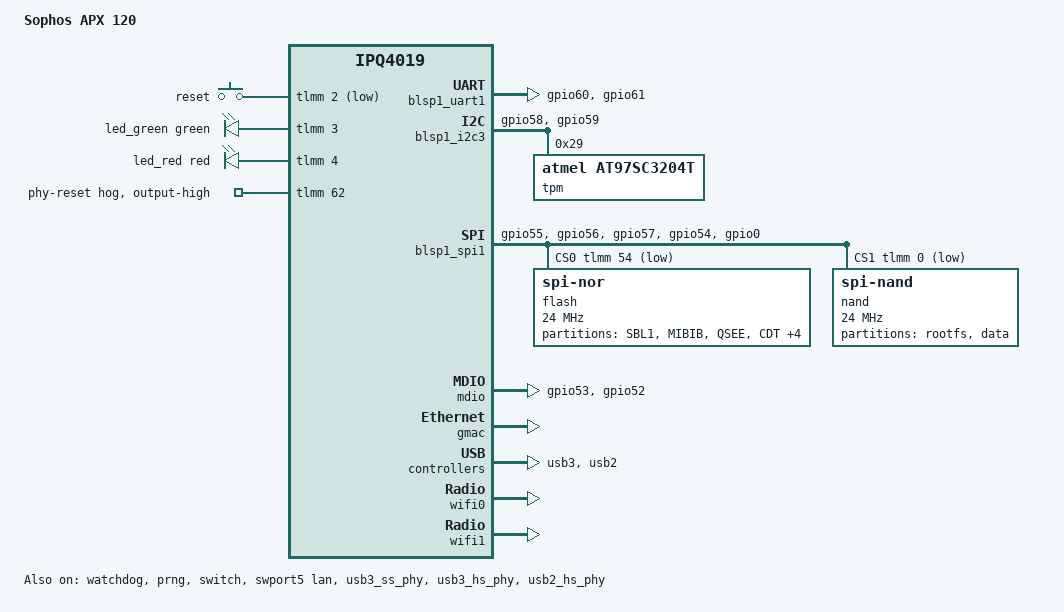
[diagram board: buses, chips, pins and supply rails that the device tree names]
// SPDX-License-Identifier: GPL-2.0-or-later OR MIT

#include "qcom-ipq4019.dtsi"
#include <dt-bindings/gpio/gpio.h>
#include <dt-bindings/input/input.h>
#include <dt-bindings/leds/common.h>
#include <dt-bindings/soc/qcom,tcsr.h>

/ {
	model = "Sophos APX 120";
	compatible = "sophos,apx120", "qcom,ipq4019";

	aliases {
		ethernet0 = &gmac;
		led-boot = &led_green;
		led-failsafe = &led_red;
		led-running = &led_green;
		led-upgrade = &led_red;
		label-mac-device = &gmac;
	};

	chosen {
		bootargs-append = " root=/dev/ubiblock0_1 ubi.mtd=data";
	};

	soc {
		counter@4a1000 {
			compatible = "qcom,qca-gcnt";
			reg = <0x4a1000 0x4>;
		};

		tcsr@1949000 {
			compatible = "qcom,tcsr";
			reg = <0x1949000 0x100>;
			qcom,wifi_glb_cfg = <TCSR_WIFI_GLB_CFG>;
		};

		tcsr@194b000 {
			compatible = "qcom,tcsr";
			reg = <0x194b000 0x100>;
			qcom,usb-hsphy-mode-select = <TCSR_USB_HSPHY_HOST_MODE>;
		};

		ess_tcsr@1953000 {
			compatible = "qcom,tcsr";
			reg = <0x1953000 0x1000>;
			qcom,ess-interface-select = <TCSR_ESS_PSGMII>;
		};

		tcsr@1957000 {
			compatible = "qcom,tcsr";
			reg = <0x1957000 0x100>;
			qcom,wifi_noc_memtype_m0_m2 = <TCSR_WIFI_NOC_MEMTYPE_M0_M2>;
		};
	};

	keys {
		compatible = "gpio-keys";

		reset {
			label = "reset";
			gpios = <&tlmm 2 GPIO_ACTIVE_LOW>;
			linux,code = <KEY_RESTART>;
		};
	};

	leds {
		compatible = "gpio-leds";

		led_green: green {
			function = LED_FUNCTION_POWER;
			color = <LED_COLOR_ID_GREEN>;
			gpios = <&tlmm 3 GPIO_ACTIVE_HIGH>;
			default-state = "on";
		};

		led_red: red {
			function = LED_FUNCTION_STATUS;
			color = <LED_COLOR_ID_RED>;
			gpios = <&tlmm 4 GPIO_ACTIVE_HIGH>;
			panic-indicator;
		};
	};
};

&watchdog {
	status = "okay";
};

&prng {
	status = "okay";
};

&blsp_dma {
	status = "okay";
};

&blsp1_uart1 {
	status = "okay";
	pinctrl-0 = <&serial_0_pins>;
	pinctrl-names = "default";
};

&blsp1_i2c3 {
	status = "okay";
	pinctrl-0 = <&i2c_0_pins>;
	pinctrl-names = "default";

	tpm@29 {
		compatible = "atmel,at97sc3204t";
		reg = <0x29>;
	};
};

&blsp1_spi1 {
	status = "okay";

	pinctrl-0 = <&spi_0_pins>;
	pinctrl-names = "default";
	cs-gpios = <&tlmm 54 GPIO_ACTIVE_LOW>,
		   <&tlmm  0 GPIO_ACTIVE_LOW>;

	flash@0 {
		compatible = "jedec,spi-nor";
		reg = <0>;
		spi-max-frequency = <24000000>;

		partitions {
			compatible = "fixed-partitions";
			#address-cells = <1>;
			#size-cells = <1>;

			partition@0 {
				label = "SBL1";
				reg = <0x00000000 0x00040000>;
				read-only;
			};

			partition@40000 {
				label = "MIBIB";
				reg = <0x00040000 0x00020000>;
				read-only;
			};

			partition@60000 {
				label = "QSEE";
				reg = <0x00060000 0x00060000>;
				read-only;
			};

			partition@c0000 {
				label = "CDT";
				reg = <0x000c0000 0x00010000>;
				read-only;
			};

			partition@d0000 {
				label = "DDRPARAMS";
				reg = <0x000d0000 0x00010000>;
				read-only;
			};

			partition@e0000 {
				label = "APPSBLENV";
				reg = <0x000e0000 0x00010000>;
			};

			partition@f0000 {
				label = "APPSBL";
				reg = <0x000f0000 0x00080000>;
				read-only;
			};

			partition@170000 {
				label = "ART";
				reg = <0x00170000 0x00010000>;
				read-only;

				nvmem-layout {
					compatible = "fixed-layout";
					#address-cells = <1>;
					#size-cells = <1>;

					macaddr_art_0: macaddr@0 {
						reg = <0x0 0x6>;
					};

					precal_art_1000: precal@1000 {
						reg = <0x1000 0x2f20>;
					};

					precal_art_5000: precal@5000 {
						reg = <0x5000 0x2f20>;
					};
				};
			};
		};
	};

	nand@1 {
		compatible = "spi-nand";
		reg = <1>;
		spi-max-frequency = <24000000>;

		partitions {
			compatible = "fixed-partitions";
			#address-cells = <1>;
			#size-cells = <1>;

			/* Dual-die NAND: UBI on die 0, data on die 1 */
			partition@0 {
				label = "rootfs";
				reg = <0x00000000 0x08000000>;
				linux,rootfs;
			};

			partition@8000000 {
				label = "data";
				reg = <0x08000000 0x08000000>;
			};
		};
	};
};

&tlmm {
	serial_0_pins: serial_0_pinmux {
		mux {
			pins = "gpio60", "gpio61";
			function = "blsp_uart0";
			bias-disable;
		};
	};

	i2c_0_pins: i2c_0_pinmux {
		mux {
			pins = "gpio58", "gpio59";
			function = "blsp_i2c0";
			bias-disable;
		};
	};

	mdio_pins: mdio_pinmux {
		mux_mdio {
			pins = "gpio53";
			function = "mdio";
			bias-pull-up;
		};

		mux_mdc {
			pins = "gpio52";
			function = "mdc";
			bias-pull-up;
		};
	};

	spi_0_pins: spi_0_pinmux {
		mux_spi {
			function = "blsp_spi0";
			pins = "gpio55", "gpio56", "gpio57";
			drive-strength = <12>;
			bias-disable;
		};

		mux_cs {
			function = "gpio";
			pins = "gpio54", "gpio0";
			drive-strength = <2>;
			bias-disable;
			output-high;
		};
	};

	phy_reset {
		gpio-hog;
		line-name = "phy-reset";
		gpios = <62 GPIO_ACTIVE_HIGH>;
		output-high;
	};
};

&mdio {
	status = "okay";
	pinctrl-0 = <&mdio_pins>;
	pinctrl-names = "default";
};

&gmac {
	status = "okay";

	nvmem-cells = <&macaddr_art_0>;
	nvmem-cell-names = "mac-address";
};

&switch {
	status = "okay";
};

&swport5 {
	status = "okay";

	label = "lan";
};

&usb3_ss_phy {
	status = "okay";
};

&usb3_hs_phy {
	status = "okay";
};

&usb3 {
	status = "okay";
};

&usb2_hs_phy {
	status = "okay";
};

&usb2 {
	status = "okay";
};

&wifi0 {
	status = "okay";
	nvmem-cell-names = "pre-calibration";
	nvmem-cells = <&precal_art_1000>;
	qcom,ath10k-calibration-variant = "Sophos-APX120";
};

&wifi1 {
	status = "okay";
	nvmem-cell-names = "pre-calibration";
	nvmem-cells = <&precal_art_5000>;
	qcom,ath10k-calibration-variant = "Sophos-APX120";
};
